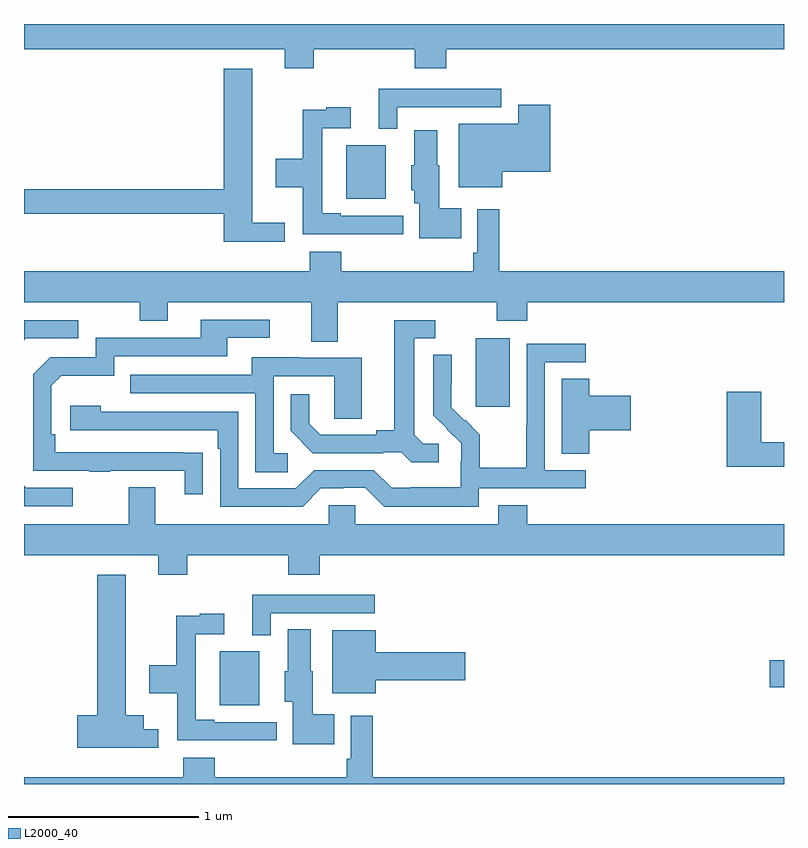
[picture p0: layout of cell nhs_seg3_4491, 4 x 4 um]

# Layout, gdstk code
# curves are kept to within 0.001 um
import gdstk
lib = gdstk.Library(unit=1e-6, precision=1e-09)
def R(c, l, rs):  # rectangles x0, y0, x1, y1
    for r in rs: c.add(gdstk.rectangle(r[:2], r[2:], *l))
def P(c, l, *ps):  # polygons
    for p in ps: c.add(gdstk.Polygon(p, *l))
L2000_40 = (2000, 40)

nhs_seg3_4491 = lib.new_cell('nhs_seg3_4491')
R(nhs_seg3_4491, L2000_40, [(352.031,678.815,352.237,679.099), (354.924,678.91,355,679.052), (353.378,680.385,353.557,680.746), (352.697,681.479,352.903,681.763)])
P(nhs_seg3_4491, L2000_40, [(352.526,682.268),(353.057,682.268),(353.057,682.166),(353.222,682.166),(353.222,682.268),(355,682.268),(355,682.4),(351,682.4),(351,682.268),(352.373,682.268),(352.373,682.166),(352.526,682.166)],
  [(352.372,681.353),(352.201,681.353),(352.201,682.165),(352.052,682.165),(352.052,681.53),(351,681.53),(351,681.402),(352.052,681.402),(352.052,681.254),(352.372,681.254)],
  [(352.965,681.963),(353.512,681.963),(353.512,682.059),(352.868,682.059),(352.868,681.848),(352.965,681.848)],
  [(353.518,681.623),(353.771,681.623),(353.771,681.976),(353.6,681.976),(353.6,681.874),(353.288,681.874),(353.288,681.542),(353.518,681.542)],
  [(352.996,681.39),(352.666,681.39),(352.666,681.403),(352.569,681.403),(352.569,681.852),(352.72,681.852),(352.72,681.961),(352.592,681.961),(352.592,681.95),(352.468,681.95),(352.468,681.69),(352.326,681.69),(352.326,681.542),(352.468,681.542),(352.468,681.294),(352.753,681.294),(352.753,681.293),(352.996,681.293)],
  [(353.3,681.43),(353.185,681.43),(353.185,681.657),(353.176,681.657),(353.176,681.841),(353.054,681.841),(353.054,681.657),(353.039,681.657),(353.039,681.525),(353.054,681.525),(353.054,681.456),(353.081,681.456),(353.081,681.272),(353.3,681.272)],
  [(352.651,680.936),(353.488,680.936),(353.488,680.837),(353.648,680.837),(353.648,680.936),(355,680.936),(355,681.1),(353.501,681.1),(353.501,681.424),(353.385,681.424),(353.385,681.196),(353.365,681.196),(353.365,681.1),(352.67,681.1),(352.67,681.202),(352.505,681.202),(352.505,681.1),(351,681.1),(351,680.936),(351.61,680.936),(351.61,680.837),(351.757,680.837),(351.757,680.936),(352.511,680.936),(352.511,680.728),(352.651,680.728)],
  [(351.941,680.144),(351.164,680.145),(351.164,680.242),(351.144,680.242),(351.144,680.496),(351.197,680.549),(351.474,680.549),(351.474,680.652),(352.069,680.652),(352.069,680.748),(352.294,680.748),(352.294,680.844),(351.929,680.844),(351.929,680.748),(351.378,680.748),(351.378,680.646),(351.138,680.646),(351.048,680.556),(351.048,680.049),(351.343,680.049),(351.343,680.044),(351.455,680.044),(351.455,680.049),(351.845,680.049),(351.845,679.926),(351.941,679.926)],
  [(353.182,680.19),(353.1,680.19),(353.053,680.237),(353.053,680.745),(353.164,680.745),(353.164,680.841),(352.949,680.841),(352.949,680.261),(352.853,680.261),(352.853,680.238),(352.558,680.238),(352.501,680.295),(352.501,680.452),(352.404,680.452),(352.404,680.258),(352.52,680.142),(352.892,680.142),(352.892,680.145),(352.986,680.145),(353.038,680.093),(353.182,680.093)],
  [(351.009,680.745),(351.286,680.745),(351.286,680.841),(351,680.841),(351,680.736)],
  [(353.394,679.956),(353.956,679.956),(353.956,680.052),(353.742,680.052),(353.742,680.619),(353.956,680.619),(353.956,680.718),(353.646,680.718),(353.646,680.288),(353.644,680.288),(353.644,680.065),(353.399,680.065),(353.399,680.239),(353.322,680.316),(353.319,680.313),(353.249,680.384),(353.25,680.66),(353.154,680.66),(353.154,680.342),(353.3,680.194),(353.3,680.097),(353.298,680.097),(353.298,679.963),(353.035,679.963),(353.035,679.959),(352.935,679.959),(352.842,680.052),(352.527,680.052),(352.431,679.956),(352.128,679.956),(352.128,680.358),(351.404,680.358),(351.404,680.392),(351.243,680.392),(351.243,680.262),(352.019,680.262),(352.019,680.165),(352.032,680.165),(352.032,679.86),(352.467,679.86),(352.563,679.956),(352.682,679.956),(352.682,679.959),(352.797,679.959),(352.897,679.859),(353.394,679.859)],
  [(352.387,680.142),(352.314,680.142),(352.314,680.547),(352.632,680.547),(352.632,680.323),(352.777,680.323),(352.777,680.643),(352.453,680.643),(352.453,680.647),(352.199,680.647),(352.199,680.553),(351.559,680.553),(351.559,680.457),(352.218,680.457),(352.218,680.041),(352.387,680.041)],
  [(353.975,680.261),(354.193,680.261),(354.193,680.444),(353.975,680.444),(353.975,680.534),(353.831,680.534),(353.831,680.137),(353.975,680.137)],
  [(355,680.198),(354.881,680.198),(354.881,680.464),(354.698,680.464),(354.698,680.07),(355,680.07)],
  [(351.256,679.959),(351.012,679.959),(351,679.971),(351,679.863),(351.256,679.863)],
  [(351.86,679.604),(352.391,679.604),(352.391,679.502),(352.556,679.502),(352.556,679.604),(355,679.604),(355,679.768),(353.648,679.768),(353.648,679.867),(353.495,679.867),(353.495,679.768),(352.743,679.768),(352.743,679.866),(352.605,679.866),(352.605,679.768),(351.691,679.768),(351.691,679.963),(351.551,679.963),(351.551,679.768),(351,679.768),(351,679.604),(351.707,679.604),(351.707,679.502),(351.86,679.502)],
  [(351.706,678.689),(351.631,678.689),(351.631,678.761),(351.535,678.761),(351.535,679.501),(351.386,679.501),(351.386,678.761),(351.279,678.761),(351.279,678.59),(351.706,678.59)],
  [(352.299,679.299),(352.846,679.299),(352.846,679.395),(352.202,679.395),(352.202,679.184),(352.299,679.184)],
  [(352.33,678.726),(352,678.726),(352,678.739),(351.903,678.739),(351.903,679.188),(352.054,679.188),(352.054,679.297),(351.926,679.297),(351.926,679.286),(351.802,679.286),(351.802,679.026),(351.66,679.026),(351.66,678.878),(351.806,678.878),(351.806,678.63),(352.087,678.63),(352.087,678.629),(352.33,678.629)],
  [(352.634,678.766),(352.519,678.766),(352.519,678.993),(352.51,678.993),(352.51,679.214),(352.388,679.214),(352.388,678.993),(352.373,678.993),(352.373,678.834),(352.415,678.834),(352.415,678.608),(352.634,678.608)],
  [(352.852,678.947),(353.323,678.947),(353.323,679.094),(352.852,679.094),(352.852,679.21),(352.622,679.21),(352.622,678.878),(352.852,678.878)],
  [(355,678.436),(352.835,678.436),(352.835,678.76),(352.719,678.76),(352.719,678.532),(352.699,678.532),(352.699,678.436),(352.004,678.436),(352.004,678.538),(351.839,678.538),(351.839,678.436),(351,678.436),(351,678.4),(355,678.4)])

lib.write_gds('nhs_seg3_4491.gds')
